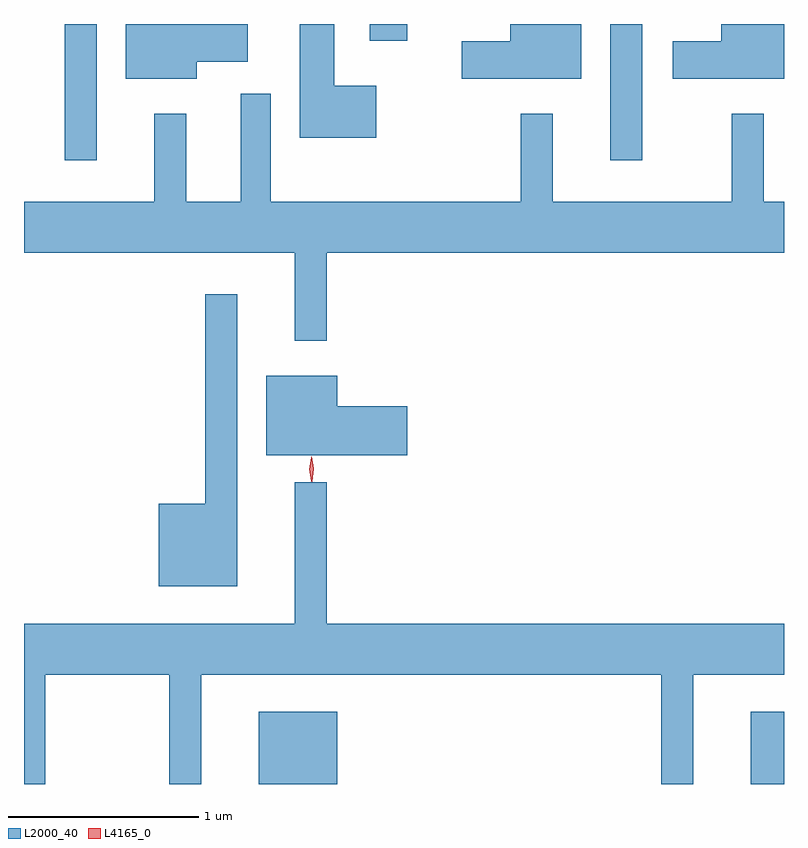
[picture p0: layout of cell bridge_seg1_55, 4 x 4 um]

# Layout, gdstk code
import gdstk
lib = gdstk.Library(unit=1e-6, precision=1e-09)
def R(c, l, rs):  # rectangles x0, y0, x1, y1
    for r in rs: c.add(gdstk.rectangle(r[:2], r[2:], *l))
def P(c, l, *ps):  # polygons
    for p in ps: c.add(gdstk.Polygon(p, *l))
L2000_40 = (2000, 40)
L4165_0 = (4165, 0)

bridge_seg1_55 = lib.new_cell('bridge_seg1_55')
R(bridge_seg1_55, L2000_40, [(1906.721,847.94,1907.134,848.319), (1909.311,847.94,1909.486,848.319), (1905.701,851.223,1905.869,851.94), (1908.571,851.223,1908.739,851.94), (1907.306,851.851,1907.504,851.94)])
P(bridge_seg1_55, L2000_40, [(1909.486,851.94),(1909.156,851.94),(1909.156,851.849),(1908.901,851.849),(1908.901,851.651),(1909.486,851.651)],
  [(1908.419,851.94),(1908.046,851.94),(1908.046,851.849),(1907.791,851.849),(1907.791,851.651),(1908.419,851.651)],
  [(1906.394,851.741),(1906.664,851.741),(1906.664,851.939),(1906.394,851.939),(1906.394,851.94),(1906.021,851.94),(1906.021,851.651),(1906.394,851.651)],
  [(1907.339,851.614),(1907.119,851.614),(1907.119,851.94),(1906.936,851.94),(1906.936,851.341),(1907.339,851.341)],
  [(1907.079,850.736),(1909.486,850.736),(1909.486,851.004),(1909.379,851.004),(1909.379,851.468),(1909.211,851.468),(1909.211,851.004),(1908.269,851.004),(1908.269,851.468),(1908.101,851.468),(1908.101,851.004),(1906.784,851.004),(1906.784,851.573),(1906.626,851.573),(1906.626,851.004),(1906.339,851.004),(1906.339,851.468),(1906.171,851.468),(1906.171,851.004),(1905.486,851.004),(1905.486,850.736),(1906.911,850.736),(1906.911,850.273),(1907.079,850.273)],
  [(1906.609,850.518),(1906.441,850.518),(1906.441,849.414),(1906.196,849.414),(1906.196,848.981),(1906.609,848.981)],
  [(1907.504,849.929),(1907.134,849.929),(1907.134,850.089),(1906.761,850.089),(1906.761,849.671),(1907.504,849.671)],
  [(1905.599,848.516),(1906.251,848.516),(1906.251,847.94),(1906.419,847.94),(1906.419,848.516),(1908.841,848.516),(1908.841,847.94),(1909.009,847.94),(1909.009,848.516),(1909.486,848.516),(1909.486,848.784),(1907.079,848.784),(1907.079,849.528),(1906.911,849.528),(1906.911,848.784),(1905.486,848.784),(1905.486,847.94),(1905.599,847.94)])
P(bridge_seg1_55, L4165_0, [(1906.998,849.533),(1906.998,849.533),(1906.988,849.596),(1906.998,849.659),(1906.998,849.66),(1906.999,849.659),(1907.008,849.596),(1906.999,849.533)],
  [(1907.001,849.53),(1907.001,849.53),(1906.991,849.598),(1907,849.666),(1907.001,849.666),(1907.001,849.666),(1907.011,849.598),(1907.002,849.53)])

lib.write_gds('bridge_seg1_55.gds')
